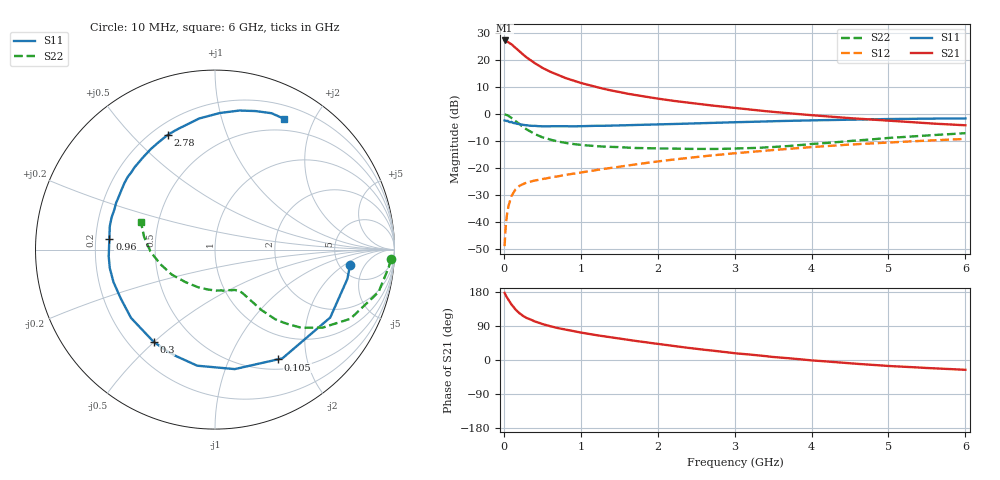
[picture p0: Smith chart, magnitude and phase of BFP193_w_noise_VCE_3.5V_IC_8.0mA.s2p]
! Infineon Technologies  Discrete & RF Semiconductors
! BFP193
! VCE = 3.5 V,  IC =  8.0 mA
! Common Emitter S-Parameters:  Jan 2016
# GHz  S  MA  R  50
!  f  S11  S21  S12  S22
! GHz  MAG  ANG  MAG  ANG  MAG  ANG  MAG  ANG
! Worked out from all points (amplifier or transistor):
!   210 points, 10 MHz to 6 GHz, reference 50 ohm
!   highest |S21| = 27.2 dB at 10 MHz (marker M1)
!   |S21| within 3 dB of that: start of sweep to 162.4 MHz
!   unconditionally stable (mu >= 1): 1.119 GHz to 3.637 GHz
!   at 185 MHz: K = 0.28, MSG = 25.3 dB, |S12| = -27.0 dB
!   at 1.52 GHz: K = 1.09, MAG = 11.9 dB, |S12| = -19.4 dB
!   at 6 GHz: K = 0.91, MSG = 2.5 dB, |S12| = -9.2 dB
!   lowest NFmin = 1.25 dB at 450 MHz
!   S11 on the Smith chart (normalised r, x): 10 MHz: 6.19, -2.53; 105 MHz: 0.63, -1.53; 300 MHz: 0.30, -0.50; 960 MHz: 0.26, +0.05; 2.78 GHz: 0.26, +0.64; 6 GHz: 0.35, +1.60
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0.01  0.7575 -6.6  22.78 177.0  0.0036 84.7  0.9817 -3.1
0.02  0.7554 -12.5  22.14 172.1  0.0068 82.8  0.9726 -5.9
0.05  0.7453 -30.5  21.54 161.7  0.0168 75.1  0.9412 -14.6
0.1  0.7129 -58.2  19.38 146.2  0.0304 63.9  0.8475 -27.0
0.105  0.7045 -60.3  19.07 145.1  0.0313 62.7  0.8362 -27.8
0.15  0.6748 -80.6  16.7 133.3  0.04 54.5  0.7424 -35.8
0.2  0.6544 -98.7  14.54 123.8  0.0466 49.0  0.65 -42.1
0.24  0.6317 -110.1  12.9 117.8  0.0498 45.3  0.5867 -45.3
0.26  0.6258 -115.1  12.19 115.1  0.0513 44.1  0.5596 -46.7
0.3  0.6173 -123.6  10.95 110.5  0.0541 42.7  0.5139 -49.1
0.4  0.6031 -140.9  8.717 101.9  0.0587 40.1  0.4261 -52.4
0.5  0.5915 -152.5  7.118 94.9  0.0621 39.4  0.3705 -54.1
0.7  0.5952 -170.0  5.255 84.3  0.0702 40.2  0.3103 -56.3
0.96  0.5915 174.3  3.894 74.1  0.0809 42.6  0.2715 -59.1
1.02  0.5943 171.3  3.674 71.8  0.0834 43.1  0.2661 -59.9
1.4  0.6092 154.8  2.7 59.6  0.1005 45.3  0.2467 -66.5
2.02  0.6417 133.8  1.902 42.0  0.1334 45.2  0.2298 -81.6
2.78  0.6907 112.5  1.394 23.2  0.1753 41.5  0.2255 -106.2
3.1  0.7069 105.2  1.245 16.2  0.1929 39.1  0.2309 -117.8
4.1  0.7652 86.4  0.924 -2.4  0.2494 30.2  0.2841 -153.4
5.1  0.8071 72.4  0.735 -16.8  0.3016 19.8  0.3668 179.1
6  0.8243 62.2  0.617 -25.9  0.3451 9.8  0.4411 159.5
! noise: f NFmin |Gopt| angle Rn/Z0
0.45  1.25  0.23  133  0.12
0.9  1.3  0.35  156  0.11
1.8  2  0.55  -155  0.13
